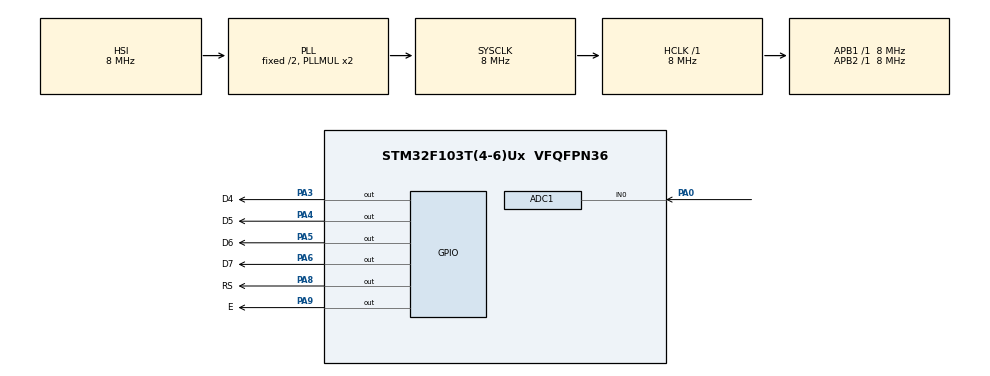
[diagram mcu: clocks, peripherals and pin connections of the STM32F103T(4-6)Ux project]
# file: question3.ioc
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ADC1.Channel-0\#ChannelRegularConversion=ADC_CHANNEL_0
ADC1.ContinuousConvMode=ENABLE
ADC1.NbrOfConversionFlag=1
ADC1.Rank-0\#ChannelRegularConversion=1
ADC1.SamplingTime-0\#ChannelRegularConversion=ADC_SAMPLETIME_1CYCLE_5
ADC1.master=1
Mcu.Family=STM32F1
Mcu.Name=STM32F103T(4-6)Ux
Mcu.Package=VFQFPN36
NVIC.PriorityGroup=NVIC_PRIORITYGROUP_4
PA0-WKUP.Signal=ADCx_IN0
PA3.GPIO_Label=D4
PA3.Signal=GPIO_Output
PA4.GPIO_Label=D5
PA4.Signal=GPIO_Output
PA5.GPIO_Label=D6
PA5.Signal=GPIO_Output
PA6.GPIO_Label=D7
PA6.Signal=GPIO_Output
PA8.GPIO_Label=RS
PA8.Signal=GPIO_Output
PA9.GPIO_Label=E
PA9.Signal=GPIO_Output
ProjectManager.HeapSize=0x200
ProjectManager.StackSize=0x400
ProjectManager.TargetToolchain=STM32CubeIDE
RCC.AHBFreq_Value=8000000
RCC.APB1Freq_Value=8000000
RCC.APB1TimFreq_Value=8000000
RCC.APB2Freq_Value=8000000
RCC.APB2TimFreq_Value=8000000
RCC.HCLKFreq_Value=8000000
RCC.SYSCLKFreq_VALUE=8000000
RCC.SYSCLKSource=RCC_SYSCLKSOURCE_PLLCLK
RCC.USBFreq_Value=8000000
SH.ADCx_IN0.0=ADC1_IN0,IN0
VP_SYS_VS_ND.Mode=No_Debug
board=custom

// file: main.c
/* USER CODE BEGIN Header */
/**
  ******************************************************************************
  * @file           : main.c
  * @brief          : Main program body
  ******************************************************************************
  * @attention
  *
  * Copyright (c) 2022 STMicroelectronics.
  * All rights reserved.
  *
  * This software is licensed under terms that can be found in the LICENSE file
  * in the root directory of this software component.
  * If no LICENSE file comes with this software, it is provided AS-IS.
  *
  ******************************************************************************
  */
/* USER CODE END Header */
#include "main.h"

/* USER CODE BEGIN Includes */
#include "lcd.h"
#include "stdio.h"
#include "math.h"
/* USER CODE END Includes */

 ADC_HandleTypeDef hadc1;

void SystemClock_Config(void);
static void MX_GPIO_Init(void);
static void MX_ADC1_Init(void);

/* USER CODE BEGIN 0 */
uint32_t adcVal;
/* USER CODE END 0 */

int main(void)
{

  /* MCU Configuration--------------------------------------------------------*/

  /* Reset of all peripherals, Initializes the Flash interface and the Systick. */
  HAL_Init();

  /* Configure the system clock */
  SystemClock_Config();

  /* Initialize all configured peripherals */
  MX_GPIO_Init();
  MX_ADC1_Init();
  /* USER CODE BEGIN 2 */
  Lcd_PortType ports [] = {
         		D4_GPIO_Port, D5_GPIO_Port, D6_GPIO_Port, D7_GPIO_Port
       };
       Lcd_PinType pins [] = {
         	   D4_Pin, D5_Pin, D6_Pin, D7_Pin
       };

       Lcd_HandleTypeDef lcd = Lcd_create(ports, pins, RS_GPIO_Port, RS_Pin, E_GPIO_Port, E_Pin, LCD_4_BIT_MODE);
       float Vref = 3.6;
       float pressure = 0;
       float p1 = 2.223;
       float p2 = 9053;
       float voltage_val = 1.0;
       HAL_ADC_Start(&hadc1);
  /* USER CODE END 2 */

  /* Infinite loop */
  while (1)
  {

    /* USER CODE BEGIN 3 */
	  adcVal = HAL_ADC_GetValue(&hadc1);
	  Lcd_clear(&lcd);
	  Lcd_cursor(&lcd, 0, 0);
	  voltage_val = adcVal * Vref / 4095.0;
	  pressure = ((p1 * 10000 * voltage_val) + p2);
	  Lcd_float(&lcd, pressure);
	  //HAL_Delay(10);
  }
  /* USER CODE END 3 */
}

void SystemClock_Config(void)
{
  RCC_OscInitTypeDef RCC_OscInitStruct = {0};
  RCC_ClkInitTypeDef RCC_ClkInitStruct = {0};
  RCC_PeriphCLKInitTypeDef PeriphClkInit = {0};

  /** Initializes the RCC Oscillators according to the specified parameters
  * in the RCC_OscInitTypeDef structure.
  */
  RCC_OscInitStruct.OscillatorType = RCC_OSCILLATORTYPE_HSI;
  RCC_OscInitStruct.HSIState = RCC_HSI_ON;
  RCC_OscInitStruct.HSICalibrationValue = RCC_HSICALIBRATION_DEFAULT;
  RCC_OscInitStruct.PLL.PLLState = RCC_PLL_ON;
  RCC_OscInitStruct.PLL.PLLSource = RCC_PLLSOURCE_HSI_DIV2;
  RCC_OscInitStruct.PLL.PLLMUL = RCC_PLL_MUL2;
  if (HAL_RCC_OscConfig(&RCC_OscInitStruct) != HAL_OK)
  {
    Error_Handler();
  }

  /** Initializes the CPU, AHB and APB buses clocks
  */
  RCC_ClkInitStruct.ClockType = RCC_CLOCKTYPE_HCLK|RCC_CLOCKTYPE_SYSCLK
                              |RCC_CLOCKTYPE_PCLK1|RCC_CLOCKTYPE_PCLK2;
  RCC_ClkInitStruct.SYSCLKSource = RCC_SYSCLKSOURCE_PLLCLK;
  RCC_ClkInitStruct.AHBCLKDivider = RCC_SYSCLK_DIV1;
  RCC_ClkInitStruct.APB1CLKDivider = RCC_HCLK_DIV1;
  RCC_ClkInitStruct.APB2CLKDivider = RCC_HCLK_DIV1;

  if (HAL_RCC_ClockConfig(&RCC_ClkInitStruct, FLASH_LATENCY_0) != HAL_OK)
  {
    Error_Handler();
  }
  PeriphClkInit.PeriphClockSelection = RCC_PERIPHCLK_ADC;
  PeriphClkInit.AdcClockSelection = RCC_ADCPCLK2_DIV2;
  if (HAL_RCCEx_PeriphCLKConfig(&PeriphClkInit) != HAL_OK)
  {
    Error_Handler();
  }
}

static void MX_ADC1_Init(void)
{

  ADC_ChannelConfTypeDef sConfig = {0};

  /** Common config
  */
  hadc1.Instance = ADC1;
  hadc1.Init.ScanConvMode = ADC_SCAN_DISABLE;
  hadc1.Init.ContinuousConvMode = ENABLE;
  hadc1.Init.DiscontinuousConvMode = DISABLE;
  hadc1.Init.ExternalTrigConv = ADC_SOFTWARE_START;
  hadc1.Init.DataAlign = ADC_DATAALIGN_RIGHT;
  hadc1.Init.NbrOfConversion = 1;
  if (HAL_ADC_Init(&hadc1) != HAL_OK)
  {
    Error_Handler();
  }

  /** Configure Regular Channel
  */
  sConfig.Channel = ADC_CHANNEL_0;
  sConfig.Rank = ADC_REGULAR_RANK_1;
  sConfig.SamplingTime = ADC_SAMPLETIME_1CYCLE_5;
  if (HAL_ADC_ConfigChannel(&hadc1, &sConfig) != HAL_OK)
  {
    Error_Handler();
  }

}

static void MX_GPIO_Init(void)
{
  GPIO_InitTypeDef GPIO_InitStruct = {0};

  /* GPIO Ports Clock Enable */
  __HAL_RCC_GPIOA_CLK_ENABLE();

  /*Configure GPIO pin Output Level */
  HAL_GPIO_WritePin(GPIOA, D4_Pin|D5_Pin|D6_Pin|D7_Pin
                          |RS_Pin|E_Pin, GPIO_PIN_RESET);

  /*Configure GPIO pins : D4_Pin D5_Pin D6_Pin D7_Pin
                           RS_Pin E_Pin */
  GPIO_InitStruct.Pin = D4_Pin|D5_Pin|D6_Pin|D7_Pin
                          |RS_Pin|E_Pin;
  GPIO_InitStruct.Mode = GPIO_MODE_OUTPUT_PP;
  GPIO_InitStruct.Pull = GPIO_NOPULL;
  GPIO_InitStruct.Speed = GPIO_SPEED_FREQ_LOW;
  HAL_GPIO_Init(GPIOA, &GPIO_InitStruct);

}

void Error_Handler(void)
{
  __disable_irq();
  while (1)
  {
  }
}
